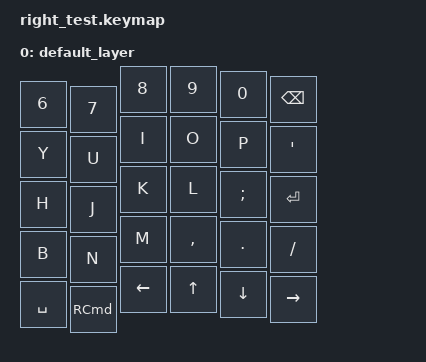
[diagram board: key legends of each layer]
// This file was generated from a template. Edit it to match your keyboard.
// See https://zmk.dev/docs/development/hardware-integration/new-shield for more instructions.

#include <behaviors.dtsi>
#include <dt-bindings/zmk/keys.h>

/ {
    // Define a default keymap here.
    // See https://zmk.dev/docs/development/hardware-integration/new-shield#default-keymap.
    keymap {
        compatible = "zmk,keymap";

        default_layer {
            bindings = <
                &kp N6 &kp N7 &kp N8 &kp N9 &kp N0 &kp BACKSPACE
                &kp Y &kp U &kp I &kp O &kp P &kp APOSTROPHE
                &kp H &kp J &kp K &kp L &kp SEMICOLON &kp ENTER
                &kp B &kp N &kp M &kp COMMA &kp PERIOD &kp SLASH
                &kp SPACE &kp RCMD &kp LEFT &kp UP &kp DOWN &kp RIGHT
            >;
        };
    };
};
